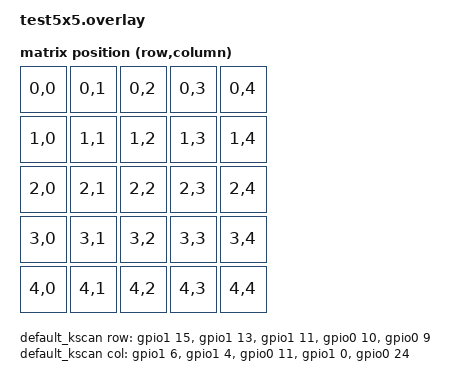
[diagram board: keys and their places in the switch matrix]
#include <dt-bindings/zmk/matrix_transform.h>

/ {
    chosen {
        zmk,kscan = &default_kscan;
        zmk,matrix_transform = &default_transform;
    };

    default_kscan: kscan {
        compatible = "zmk,kscan-gpio-matrix";
        // 'label' is deprecated, we can remove it
        diode-direction = "col2row";

        row-gpios = <&gpio1 15 (GPIO_ACTIVE_HIGH | GPIO_PULL_DOWN)>,
                    <&gpio1 13 (GPIO_ACTIVE_HIGH | GPIO_PULL_DOWN)>,
                    <&gpio1 11 (GPIO_ACTIVE_HIGH | GPIO_PULL_DOWN)>,
                    <&gpio0 10 (GPIO_ACTIVE_HIGH | GPIO_PULL_DOWN)>,
                    <&gpio0  9 (GPIO_ACTIVE_HIGH | GPIO_PULL_DOWN)>;

        col-gpios = <&gpio1  6 GPIO_ACTIVE_HIGH>,
                    <&gpio1  4 GPIO_ACTIVE_HIGH>,
                    <&gpio0 11 GPIO_ACTIVE_HIGH>,
                    <&gpio1  0 GPIO_ACTIVE_HIGH>,
                    <&gpio0 24 GPIO_ACTIVE_HIGH>;
    };

    default_transform: matrix_transform {
        compatible = "zmk,matrix-transform";
        columns = <5>;
        rows = <5>;

        map = <
            RC(0,0) RC(0,1) RC(0,2) RC(0,3) RC(0,4)
            RC(1,0) RC(1,1) RC(1,2) RC(1,3) RC(1,4)
            RC(2,0) RC(2,1) RC(2,2) RC(2,3) RC(2,4)
            RC(3,0) RC(3,1) RC(3,2) RC(3,3) RC(3,4)
            RC(4,0) RC(4,1) RC(4,2) RC(4,3) RC(4,4)
        >;
    };
};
